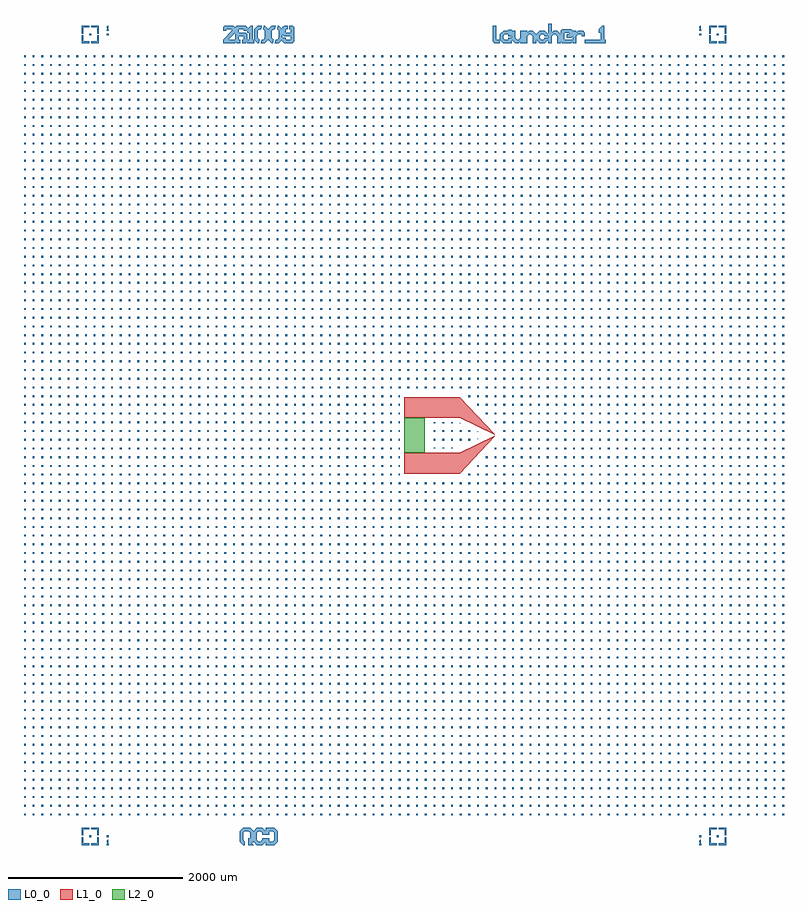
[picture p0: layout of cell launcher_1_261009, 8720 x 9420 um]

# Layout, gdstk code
import gdstk
lib = gdstk.Library(unit=1e-6, precision=1e-09)
def R(c, l, rs):  # rectangles x0, y0, x1, y1
    for r in rs: c.add(gdstk.rectangle(r[:2], r[2:], *l))
def A(c, l, x, y, w, h, nx, ny, dx, dy):  # array of equal rectangles
    R(c, l, [(x+i*dx, y+j*dy, x+i*dx+w, y+j*dy+h) for i in range(nx) for j in range(ny)])
def P(c, l, *ps):  # polygons
    for p in ps: c.add(gdstk.Polygon(p, *l))
L0_0 = (0, 0)
L1_0 = (1, 0)
L2_0 = (2, 0)

remarks = lib.new_cell('remarks')
R(remarks, L0_0, [(-3610,-4610,-3590,-4590), (-3410,-4610,-3390,-4590), (3390,-4610,3410,-4590), (3590,-4610,3610,-4590), (2076.667,4500,2236.667,4540), (-3610,4590,-3590,4610), (-3410,4590,-3390,4610), (3390,4590,3410,4610), (3590,4590,3610,4610)])
P(remarks, L0_0, [(1036.667,4500),(1016.667,4520),(1016.667,4700),(1056.667,4700),(1056.667,4540),(1096.667,4540),(1096.667,4500)],
  [(1136.667,4500),(1096.667,4540),(1096.667,4600),(1143.467,4640),(1196.667,4640),(1196.667,4655),(1236.667,4655),(1236.667,4580),(1196.667,4580),(1196.667,4600),(1156.667,4600),(1136.667,4580),(1136.667,4560),(1156.667,4540),(1196.667,4540),(1196.667,4560),(1236.667,4560),(1236.667,4500)],
  [(1276.667,4500),(1236.667,4540),(1236.667,4640),(1276.667,4640),(1276.667,4560),(1296.667,4540),(1316.667,4540),(1336.667,4560),(1336.667,4640),(1376.667,4640),(1376.667,4500),(1336.667,4500),(1336.667,4520),(1316.667,4500)],
  [(1376.667,4500),(1376.667,4640),(1416.667,4640),(1416.667,4620),(1436.667,4640),(1476.667,4640),(1516.667,4600),(1516.667,4500),(1476.667,4500),(1476.667,4580),(1456.667,4600),(1436.667,4600),(1416.667,4580),(1416.667,4500)],
  [(1556.667,4500),(1516.667,4540),(1516.667,4600),(1556.667,4640),(1616.667,4640),(1656.667,4600),(1656.667,4580),(1616.667,4580),(1596.667,4600),(1576.667,4600),(1556.667,4580),(1556.667,4560),(1576.667,4540),(1596.667,4540),(1616.667,4560),(1656.667,4560),(1656.667,4540),(1616.667,4500)],
  [(1656.667,4500),(1656.667,4720),(1696.667,4720),(1696.667,4620),(1716.667,4640),(1756.667,4640),(1796.667,4600),(1796.667,4500),(1756.667,4500),(1756.667,4580),(1736.667,4600),(1716.667,4600),(1696.667,4580),(1696.667,4500)],
  [(1816.667,4500),(1796.667,4520),(1796.667,4640),(1816.667,4660),(1916.667,4660),(1936.667,4640),(1936.667,4580),(1916.667,4560),(1864.667,4560),(1864.667,4600),(1896.667,4600),(1896.667,4620),(1836.667,4620),(1836.667,4540),(1936.667,4540),(1936.667,4520),(1916.667,4500)],
  [(1936.667,4500),(1936.667,4640),(1976.667,4640),(1976.667,4620),(1996.667,4640),(2056.667,4640),(2076.667,4620),(2076.667,4580),(2036.667,4580),(2036.667,4600),(1996.667,4600),(1976.667,4580),(1976.667,4500)],
  [(2236.667,4500),(2236.667,4540),(2256.667,4540),(2256.667,4620),(2236.667,4620),(2236.667,4660),(2276.667,4700),(2296.667,4700),(2296.667,4540),(2316.667,4540),(2316.667,4500)],
  [(-2076.667,4500),(-2076.667,4540),(-1976.667,4640),(-1976.667,4660),(-2036.667,4660),(-2036.667,4640),(-2076.667,4640),(-2076.667,4680),(-2056.667,4700),(-1956.667,4700),(-1936.667,4680),(-1936.667,4620),(-2016.667,4540),(-1936.667,4540),(-1936.667,4500)],
  [(-1916.667,4500),(-1936.667,4520),(-1936.667,4680),(-1916.667,4700),(-1816.667,4700),(-1796.667,4680),(-1796.667,4640),(-1836.667,4640),(-1836.667,4660),(-1896.667,4660),(-1896.667,4620),(-1816.667,4620),(-1796.667,4600),(-1796.667,4520),(-1816.667,4500),(-1856.667,4500),(-1856.667,4540),(-1836.667,4540),(-1836.667,4580),(-1896.667,4580),(-1896.667,4540),(-1876.667,4540),(-1876.667,4500)],
  [(-1796.667,4500),(-1796.667,4540),(-1776.667,4540),(-1776.667,4620),(-1796.667,4620),(-1796.667,4660),(-1756.667,4700),(-1736.667,4700),(-1736.667,4540),(-1716.667,4540),(-1716.667,4500)],
  [(-1676.667,4500),(-1716.667,4540),(-1716.667,4660),(-1676.667,4700),(-1630.667,4700),(-1640.667,4660),(-1656.667,4660),(-1676.667,4640),(-1676.667,4560),(-1656.667,4540),(-1666.667,4500)],
  [(-1642.667,4500),(-1632.667,4540),(-1616.667,4540),(-1596.667,4560),(-1596.667,4640),(-1616.667,4660),(-1606.667,4700),(-1596.667,4700),(-1556.667,4660),(-1556.667,4540),(-1596.667,4500)],
  [(-1516.667,4500),(-1556.667,4540),(-1556.667,4660),(-1516.667,4700),(-1470.667,4700),(-1480.667,4660),(-1496.667,4660),(-1516.667,4640),(-1516.667,4560),(-1496.667,4540),(-1506.667,4500)],
  [(-1482.667,4500),(-1472.667,4540),(-1456.667,4540),(-1436.667,4560),(-1436.667,4640),(-1456.667,4660),(-1446.667,4700),(-1436.667,4700),(-1396.667,4660),(-1396.667,4540),(-1436.667,4500)],
  [(-1376.667,4500),(-1396.667,4520),(-1396.667,4560),(-1356.667,4560),(-1356.667,4540),(-1296.667,4540),(-1296.667,4580),(-1376.667,4580),(-1396.667,4600),(-1396.667,4680),(-1376.667,4700),(-1336.667,4700),(-1336.667,4660),(-1356.667,4660),(-1356.667,4620),(-1296.667,4620),(-1296.667,4660),(-1316.667,4660),(-1316.667,4700),(-1276.667,4700),(-1256.667,4680),(-1256.667,4520),(-1276.667,4500)],
  [(-1846.667,-4700),(-1886.667,-4660),(-1886.667,-4540),(-1846.667,-4500),(-1766.667,-4500),(-1726.667,-4540),(-1726.667,-4660),(-1746.667,-4680),(-1726.667,-4700),(-1786.667,-4700),(-1786.667,-4620),(-1766.667,-4620),(-1766.667,-4560),(-1786.667,-4540),(-1826.667,-4540),(-1846.667,-4560),(-1846.667,-4640),(-1826.667,-4660),(-1826.667,-4700)],
  [(-1686.667,-4700),(-1726.667,-4660),(-1726.667,-4540),(-1686.667,-4500),(-1626.667,-4500),(-1586.667,-4540),(-1586.667,-4580),(-1626.667,-4580),(-1626.667,-4560),(-1646.667,-4540),(-1666.667,-4540),(-1686.667,-4560),(-1686.667,-4640),(-1666.667,-4660),(-1646.667,-4660),(-1626.667,-4640),(-1626.667,-4620),(-1586.667,-4620),(-1586.667,-4660),(-1626.667,-4700)],
  [(-1586.667,-4700),(-1586.667,-4620),(-1546.667,-4620),(-1546.667,-4660),(-1506.667,-4660),(-1486.667,-4640),(-1486.667,-4560),(-1506.667,-4540),(-1546.667,-4540),(-1546.667,-4580),(-1586.667,-4580),(-1586.667,-4500),(-1486.667,-4500),(-1446.667,-4540),(-1446.667,-4660),(-1486.667,-4700)],
  [(-3700,-4590),(-3700,-4500),(-3610,-4500),(-3610,-4520),(-3680,-4520),(-3680,-4590)],
  [(-3700,4500),(-3700,4590),(-3680,4590),(-3680,4520),(-3610,4520),(-3610,4500)],
  [(3610,4500),(3610,4520),(3680,4520),(3680,4590),(3700,4590),(3700,4500)],
  [(3680,-4590),(3680,-4520),(3610,-4520),(3610,-4500),(3700,-4500),(3700,-4590)],
  [(-3700,-4700),(-3700,-4610),(-3680,-4610),(-3680,-4680),(-3610,-4680),(-3610,-4700)],
  [(-3700,4610),(-3700,4700),(-3610,4700),(-3610,4680),(-3680,4680),(-3680,4610)],
  [(3680,4610),(3680,4680),(3610,4680),(3610,4700),(3700,4700),(3700,4610)],
  [(3610,-4700),(3610,-4680),(3680,-4680),(3680,-4610),(3700,-4610),(3700,-4700)],
  [(-3590,-4700),(-3590,-4680),(-3520,-4680),(-3520,-4610),(-3500,-4610),(-3500,-4700)],
  [(-3520,4610),(-3520,4680),(-3590,4680),(-3590,4700),(-3500,4700),(-3500,4610)],
  [(3500,4610),(3500,4700),(3590,4700),(3590,4680),(3520,4680),(3520,4610)],
  [(3500,-4700),(3500,-4610),(3520,-4610),(3520,-4680),(3590,-4680),(3590,-4700)],
  [(-3520,-4590),(-3520,-4520),(-3590,-4520),(-3590,-4500),(-3500,-4500),(-3500,-4590)],
  [(-3590,4500),(-3590,4520),(-3520,4520),(-3520,4590),(-3500,4590),(-3500,4500)],
  [(3500,4500),(3500,4590),(3520,4590),(3520,4520),(3590,4520),(3590,4500)],
  [(3500,-4590),(3500,-4500),(3590,-4500),(3590,-4520),(3520,-4520),(3520,-4590)],
  [(-3412,-4700),(-3412,-4688),(-3406,-4688),(-3406,-4664),(-3412,-4664),(-3412,-4652),(-3400,-4640),(-3394,-4640),(-3394,-4688),(-3388,-4688),(-3388,-4700)],
  [(-3412,4640),(-3412,4652),(-3406,4652),(-3406,4676),(-3412,4676),(-3412,4688),(-3400,4700),(-3394,4700),(-3394,4652),(-3388,4652),(-3388,4640)],
  [(3388,4640),(3388,4652),(3394,4652),(3394,4676),(3388,4676),(3388,4688),(3400,4700),(3406,4700),(3406,4652),(3412,4652),(3412,4640)],
  [(3388,-4700),(3388,-4688),(3394,-4688),(3394,-4664),(3388,-4664),(3388,-4652),(3400,-4640),(3406,-4640),(3406,-4688),(3412,-4688),(3412,-4700)])

nb_inv = lib.new_cell('Nb_inv')
R(nb_inv, L1_0, [(0,-440,640,-200), (0,200,640,440)])
P(nb_inv, L1_0, [(1040,5),(640,200),(640,440),(1040,11)],
  [(640,-440),(640,-200),(1040,-5),(1040,-11)])

fem = lib.new_cell('FEM')
R(fem, L2_0, [(0,-200,240,200)])

unnamed_48 = lib.new_cell('Unnamed_48')
A(unnamed_48, L0_0, -4360, -4360, 20, 20, 88, 39, 100, 100)
A(unnamed_48, L0_0, -4360, -460, 20, 20, 43, 10, 100, 100)
A(unnamed_48, L0_0, -60, -460, 10, 20, 1, 10, 0, 100)
A(unnamed_48, L0_0, 740, -460, 20, 20, 37, 2, 100, 900)
A(unnamed_48, L0_0, 840, -360, 20, 20, 36, 2, 100, 700)
A(unnamed_48, L0_0, 940, -260, 20, 20, 35, 2, 100, 500)
A(unnamed_48, L0_0, 1040, -160, 20, 20, 34, 2, 100, 300)
A(unnamed_48, L0_0, 340, -150, 20, 10, 3, 2, 100, 290)
A(unnamed_48, L0_0, 340, -60, 20, 20, 5, 2, 100, 100)
A(unnamed_48, L0_0, 1140, -60, 20, 20, 33, 2, 100, 100)
A(unnamed_48, L0_0, -4360, 540, 20, 20, 88, 39, 100, 100)
P(unnamed_48, L0_0, [(840,40),(840,46.875),(854.103,40)],
  [(640,140),(640,144.375),(648.974,140)],
  [(640,-144.375),(640,-140),(648.974,-140)],
  [(840,-46.875),(840,-40),(854.103,-40)])

launcher_1_261009 = lib.new_cell('launcher_1_261009')
launcher_1_261009.add(gdstk.Reference(remarks, (0,0)))
launcher_1_261009.add(gdstk.Reference(nb_inv, (0,0)))
launcher_1_261009.add(gdstk.Reference(fem, (0,0)))
launcher_1_261009.add(gdstk.Reference(unnamed_48, (0,0)))

lib.write_gds('launcher_1_261009.gds')
